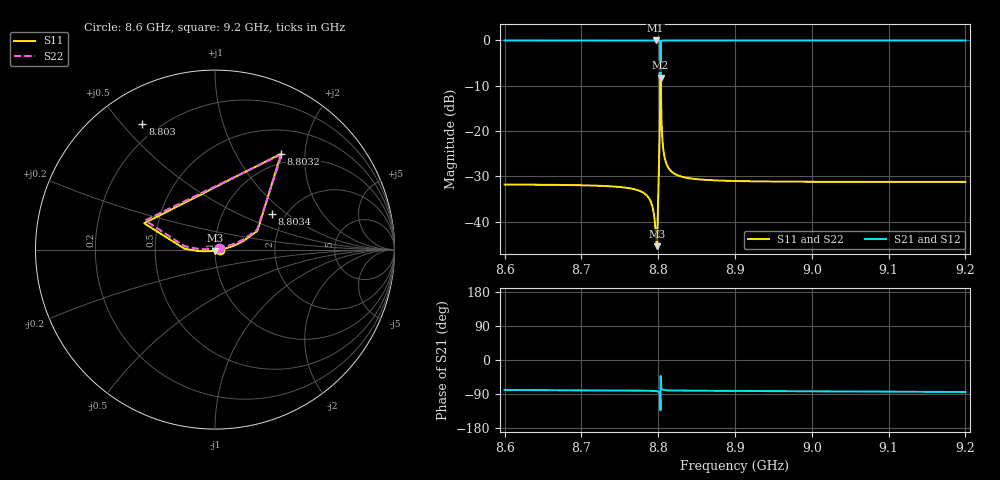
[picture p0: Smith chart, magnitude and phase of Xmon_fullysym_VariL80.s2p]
! Sonnet Data File
! From: emgraph Version : 16.52
! From Project: 171117_Xmon_fullysym
! Data is De-embedded
! Data File Written: 11/26/2017 21:44:45
!< HDATE 11/26/2017 17:24:49
!< MDATE 11/26/2017 17:24:49
!< PARAMS
!< Lj = 11.0
!< Gap = 1.0
!< Pwid = 2000.0
!< Airgap = 6.0
!< Width = 10.0
!< Lj1 = 8.0
!< END PARAMS
# GHZ S MA R 50.90000
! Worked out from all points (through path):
!   3001 points, 8.6 GHz to 9.2 GHz, reference 50.9 ohm
!   highest |S21| = 0.00 dB at 8.7966 GHz (marker M1); lowest = -8.3 dB at 8.803 GHz (marker M2)
!   lowest |S11| = -45.4 dB at 8.798 GHz (marker M3), VSWR 1.01, Z = 51 - j0.541 ohm
!   |S11| at or under -10 dB: start of sweep to 8.8027 GHz; 8.8035 GHz to end of sweep
!   |S22| runs from -45.1 to -1.8 dB; largest |S21 - S12| = 2.3e-11
!   S11 on the Smith chart (normalised r, x): 8.6 GHz: 1.05, -0.00; 8.803 GHz: 0.14, +0.57; 8.8032 GHz: 0.85, +1.56; 8.8034 GHz: 1.69, +0.79; 9.2 GHz: 1.06, -0.01
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8.6  0.02565 -0.3  0.9997 -79.0  0.9997 -79.0  0.02565 22.3
!< P1 F=8.6 Eeff=(6.44845572 -2.9799e-5) Z0=(50.9087207 1.17006e-4) R=0.0 C=0.0
!< P2 F=8.6 Eeff=(6.44845572 -2.9799e-5) Z0=(50.9087207 1.17006e-4) R=0.0 C=0.0
8.7  0.02519 -1.7  0.9997 -80.0  0.9997 -80.0  0.0252 21.8
8.7794  0.02114 -5.3  0.9998 -80.9  0.9998 -80.9  0.02115 23.4
8.7904  0.01653 -10.0  0.9998 -81.3  0.9998 -81.3  0.01654 27.5
8.7966  0.00779 -35.2  0.9999 -81.9  0.9999 -81.9  0.007876 52.0
8.798  0.005357 -82.0  0.9999 -82.3  0.9999 -82.3  0.005555 97.4
8.7992  0.009694 -139.2  0.9998 -82.8  0.9998 -82.8  0.009882 152.0
8.8002  0.02071 -158.5  0.9995 -83.5  0.9995 -83.5  0.02087 170.0
8.8016  0.06424 -171.6  0.9968 -86.0  0.9968 -86.0  0.06443 177.6
8.803  0.8104 119.9  0.3868 -132.8  0.3868 -132.8  0.8117 118.6
8.8032  0.6492 55.4  0.6809 -42.2  0.6809 -42.2  0.6502 55.0
8.8034  0.3742 32.4  0.9081 -60.4  0.9081 -60.4  0.3747 32.8
8.8052  0.08739 10.0  0.9956 -77.3  0.9956 -77.3  0.08746 16.1
8.8062  0.06805 7.7  0.9974 -78.5  0.9974 -78.5  0.06809 15.8
8.8072  0.05803 6.2  0.9982 -79.1  0.9982 -79.1  0.05806 16.0
8.81  0.04533 3.9  0.9989 -79.8  0.9989 -79.8  0.04534 16.6
8.8198  0.03436 0.8  0.9994 -80.5  0.9994 -80.5  0.03436 18.1
8.844  0.02982 -1.1  0.9996 -81.0  0.9996 -81.0  0.02982 19.1
8.9002  0.02807 -2.5  0.9996 -81.7  0.9996 -81.7  0.02807 19.2
9.0002  0.02753 -3.9  0.9996 -82.6  0.9996 -82.6  0.02754 18.7
9.1  0.02745 -5.1  0.9996 -83.5  0.9996 -83.5  0.02745 18.1
9.2  0.02746 -6.3  0.9996 -84.5  0.9996 -84.5  0.02746 17.3
